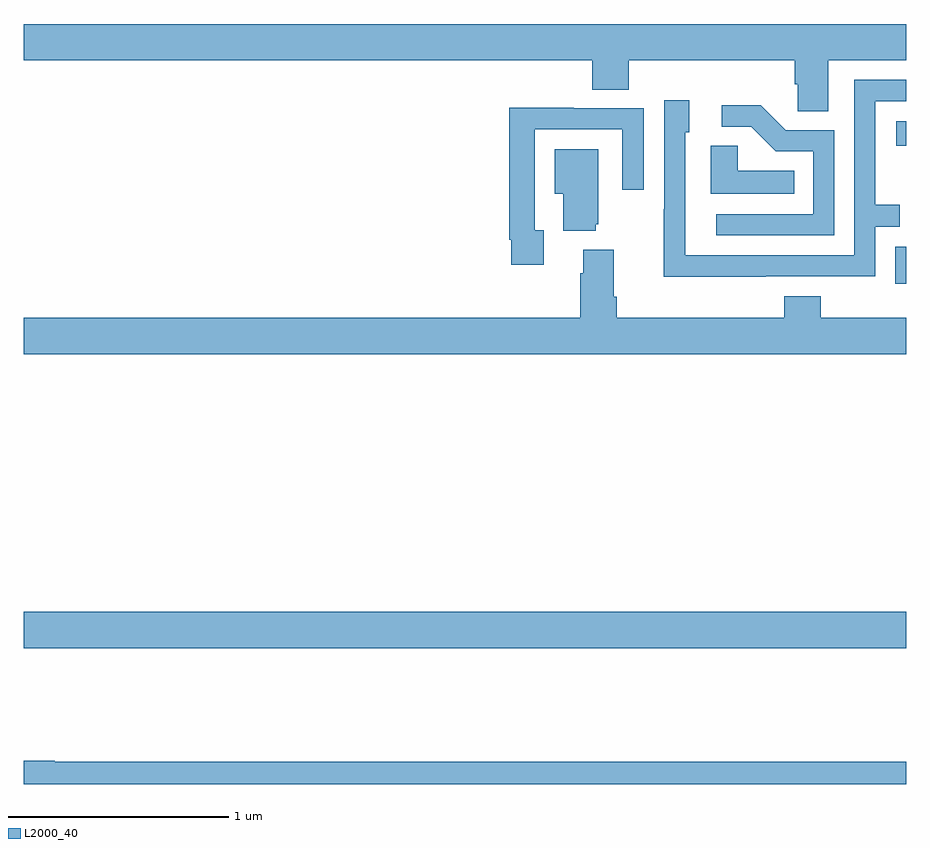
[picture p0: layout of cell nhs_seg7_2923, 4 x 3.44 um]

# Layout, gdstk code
import gdstk
lib = gdstk.Library(unit=1e-6, precision=1e-09)
def R(c, l, rs):  # rectangles x0, y0, x1, y1
    for r in rs: c.add(gdstk.rectangle(r[:2], r[2:], *l))
def P(c, l, *ps):  # polygons
    for p in ps: c.add(gdstk.Polygon(p, *l))
L2000_40 = (2000, 40)

nhs_seg7_2923 = lib.new_cell('nhs_seg7_2923')
R(nhs_seg7_2923, L2000_40, [(299,1000.616,303,1000.78), (302.949,1002.267,303,1002.435), (302.955,1002.893,303,1003.003)])
P(nhs_seg7_2923, L2000_40, [(302.647,1003.28),(303,1003.28),(303,1003.444),(299,1003.444),(299,1003.28),(301.577,1003.28),(301.577,1003.147),(301.742,1003.147),(301.742,1003.28),(302.495,1003.28),(302.495,1003.171),(302.508,1003.171),(302.508,1003.048),(302.647,1003.048)],
  [(302.363,1002.3),(302.859,1002.3),(302.859,1002.525),(302.969,1002.525),(302.969,1002.626),(302.859,1002.626),(302.859,1003.095),(303,1003.095),(303,1003.191),(302.763,1003.191),(302.763,1002.396),(301.998,1002.396),(301.998,1002.954),(302.017,1002.954),(302.017,1003.099),(301.902,1003.099),(301.902,1002.605),(301.9,1002.605),(301.9,1002.299),(302.363,1002.299)],
  [(302.673,1002.963),(302.454,1002.963),(302.341,1003.076),(302.163,1003.076),(302.163,1002.978),(302.297,1002.978),(302.408,1002.867),(302.577,1002.867),(302.577,1002.582),(302.139,1002.582),(302.139,1002.486),(302.673,1002.486)],
  [(301.357,1002.51),(301.317,1002.51),(301.317,1002.966),(301.713,1002.966),(301.713,1002.693),(301.809,1002.693),(301.809,1003.062),(301.493,1003.062),(301.493,1003.064),(301.201,1003.064),(301.201,1002.466),(301.209,1002.466),(301.209,1002.354),(301.357,1002.354)],
  [(302.492,1002.778),(302.235,1002.778),(302.235,1002.893),(302.114,1002.893),(302.114,1002.674),(302.492,1002.674)],
  [(301.592,1002.537),(301.603,1002.537),(301.603,1002.877),(301.406,1002.877),(301.406,1002.674),(301.445,1002.674),(301.445,1002.506),(301.592,1002.506)],
  [(303,1002.112),(302.612,1002.112),(302.612,1002.211),(302.447,1002.211),(302.447,1002.112),(301.688,1002.112),(301.688,1002.208),(301.675,1002.208),(301.675,1002.421),(301.535,1002.421),(301.535,1002.314),(301.523,1002.314),(301.523,1002.112),(299,1002.112),(299,1001.948),(303,1001.948)],
  [(303,1000.1),(299.142,1000.1),(299.142,1000.106),(299,1000.106),(299,1000),(303,1000)])

lib.write_gds('nhs_seg7_2923.gds')
